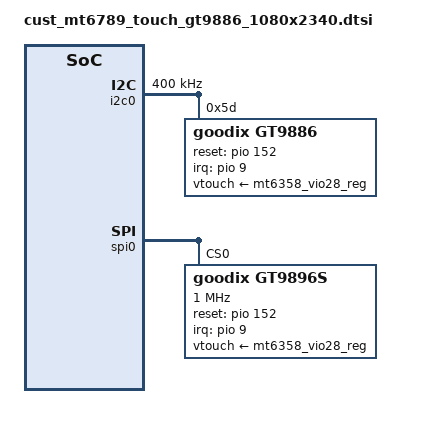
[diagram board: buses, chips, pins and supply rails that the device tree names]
// SPDX-License-Identifier: (GPL-2.0 OR MIT)
/*
 * Copyright (C) 2020 MediaTek Inc.
 */
/* TOUCH start */

&i2c0 {
	clock-frequency = <400000>;
	pinctrl-names = "default", "ts_int_active",
		"ts_reset_active", "ts_int_suspend",
		"ts_reset_suspend", "ts_i2c_mode";
	pinctrl-0 = <&ctp_pins_default>;
	pinctrl-1 = <&ctp_ts_int_active>;
	pinctrl-2 = <&ctp_ts_reset_active>;
	pinctrl-3 = <&ctp_ts_int_suspend>;
	pinctrl-4 = <&ctp_ts_reset_suspend>;
	pinctrl-5 = <&ctp_ts_i2c_mode>;

	gt9886@5d {
		compatible = "goodix,gt9886";
		reg = <0x5d>;
		status = "ok";
		interrupt-parent = <&pio>;
		interrupts = <9 IRQ_TYPE_EDGE_FALLING 9 0>;
		vtouch-supply = <&mt6358_vio28_reg>;
		goodix,reset-gpio = <&pio 152 0x0>;
		goodix,irq-gpio = <&pio 9 0x0>;
		goodix,irq-flags = <2>; /* 1:rising, 2:falling;*/
		goodix,panel-max-id = <10>;
		goodix,panel-max-x = <1080>;
		goodix,panel-max-y = <2340>;
		goodix,panel-max-w = <256>;
		goodix,panel-max-p = <256>;
		goodix,input-max-x = <1080>;
		goodix,input-max-y = <2340>;
		goodix,panel-key-map = <158 172 217>; /*BACK,HOMEPAGE,SEARCH*/
		goodix,power-on-delay-us = <10000>; /*10ms*/
		goodix,power-off-delay-us = <5000>;
		goodix,firmware-version = "6885af";
		goodix,config-version = "90hz6885";
		/*goodix,swap-axis;*/
		/*goodix,x2x;*/
		/*goodix,y2y;*/
		goodix,pen-enable;
		goodix,key-of-pen = <331 332>;/*BTN_STYLUS, BTN_STYLUS2*/
		tpd-filter-enable = <0>;
		tpd-filter-pixel-density = <161>;
		tpd-filter-custom-prameters = <0 0 0 0 0 0 0 0 0 0 0 0>;
		tpd-filter-custom-speed = <0 0 0>;
	};

};

&spi0 {
	status = "okay";
	#address-cells = <1>;
	#size-cells = <0>;
	pinctrl-names = "default", "gt9896s_int_active",
		"gt9896s_reset_active", "gt9896s_int_suspend",
		"gt9896s_reset_suspend", "gt9896s_spi_mode";
	pinctrl-0 = <&ctp_gt9896s_pins_default>;
	pinctrl-1 = <&ctp_gt9896s_int_active>;
	pinctrl-2 = <&ctp_gt9896s_reset_active>;
	pinctrl-3 = <&ctp_gt9896s_int_suspend>;
	pinctrl-4 = <&ctp_gt9896s_reset_suspend>;
	pinctrl-5 = <&ctp_gt9896s_spi_mode>;
	gt9896s@0 {
		compatible = "goodix,gt9896s";
		reg = <0>; //Same as CS ID
		spi-max-frequency = <1000000>;
		goodix,avdd-name = "vtouch";
		vtouch-supply = <&mt6358_vio28_reg>;
		goodix,reset-gpio = <&pio 152 0x0>;
		goodix,irq-gpio = <&pio 9 0x0>;
		goodix,irq-flags = <2>; /* 1:rising, 2:falling;*/
		goodix,panel-max-id = <10>;
		goodix,panel-max-x = <1080>;
		goodix,panel-max-y = <2400>;
		goodix,panel-max-w = <256>;
		goodix,panel-max-p = <256>;
		goodix,input-max-x = <1080>;
		goodix,input-max-y = <2400>;
		goodix,panel-key-map = <158 172 217>; /*BACK,HOMEPAGE,SEARCH*/
		goodix,power-on-delay-us = <10000>; /*10ms*/
		goodix,power-off-delay-us = <5000>;
		goodix,firmware-version = "6789v01";
		goodix,config-version = "6789v01";
		/*goodix,swap-axis;*/
		goodix,x2x;
		goodix,y2y;
		goodix,pen-enable;
		tpd-filter-enable = <0>;
		tpd-filter-pixel-density = <161>;
		tpd-filter-custom-prameters = <0 0 0 0 0 0 0 0 0 0 0 0>;
		tpd-filter-custom-speed = <0 0 0>;
	};
};
&pio {
	ctp_pins_default: eintdefault {
	};
	ctp_gt9896s_pins_default: pins_default {
	};
	ctp_ts_int_active: int_active {
		pins_cmd_dat {
			pinmux = <PINMUX_GPIO9__FUNC_GPIO9>;
			input-enable;
		};
	};
	ctp_ts_reset_active: reset_active {
		pins_cmd_dat {
			pinmux = <PINMUX_GPIO152__FUNC_GPIO152>;
			output-high;
		};
	};
	ctp_ts_int_suspend: int_suspend {
		pins_cmd_dat {
			pinmux = <PINMUX_GPIO9__FUNC_GPIO9>;
			output-low;
		};
	};
	ctp_ts_reset_suspend: reset_suspend {
		pins_cmd_dat {
			pinmux = <PINMUX_GPIO152__FUNC_GPIO152>;
			output-low;
		};
	};
	ctp_ts_i2c_mode: i2cmode_default {
		pins_cmd_dat {
			pinmux = <PINMUX_GPIO130__FUNC_SCL0>,
				<PINMUX_GPIO131__FUNC_SDA0>;
		};
	};
	ctp_gt9896s_int_active: int1_active {
		pins_cmd_dat {
			pinmux = <PINMUX_GPIO9__FUNC_GPIO9>;
			input-enable;
		};
	};
	ctp_gt9896s_reset_active: reset1_active {
		pins_cmd_dat {
			pinmux = <PINMUX_GPIO152__FUNC_GPIO152>;
			output-high;
		};
	};
	ctp_gt9896s_int_suspend: int1_suspend {
		pins_cmd_dat {
			pinmux = <PINMUX_GPIO9__FUNC_GPIO9>;
			output-low;
		};
	};
	ctp_gt9896s_reset_suspend: reset1_suspend {
		pins_cmd_dat {
			pinmux = <PINMUX_GPIO152__FUNC_GPIO152>;
			output-low;
		};
	};
	ctp_gt9896s_spi_mode: spimode_default {
		pins_cmd_dat {
			pinmux = <PINMUX_GPIO30__FUNC_SPI0_CLK>,
				<PINMUX_GPIO31__FUNC_SPI0_CSB>,
				<PINMUX_GPIO32__FUNC_SPI0_MO>,
				<PINMUX_GPIO33__FUNC_SPI0_MI>;
			drive-strength = <2>;
		};
	};
};
/* TOUCH end */

